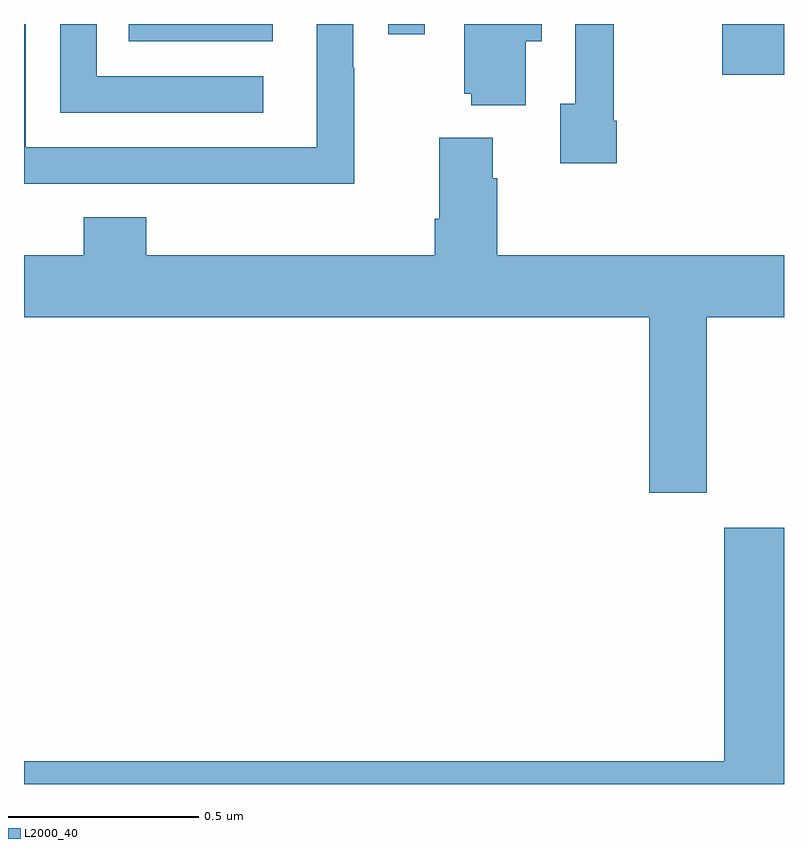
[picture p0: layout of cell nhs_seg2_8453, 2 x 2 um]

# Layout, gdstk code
import gdstk
lib = gdstk.Library(unit=1e-6, precision=1e-09)
def R(c, l, rs):  # rectangles x0, y0, x1, y1
    for r in rs: c.add(gdstk.rectangle(r[:2], r[2:], *l))
def P(c, l, *ps):  # polygons
    for p in ps: c.add(gdstk.Polygon(p, *l))
L2000_40 = (2000, 40)

nhs_seg2_8453 = lib.new_cell('nhs_seg2_8453')
R(nhs_seg2_8453, L2000_40, [(218.838,589.666,219,589.8), (217.276,589.754,217.654,589.8), (217.959,589.773,218.055,589.8)])
P(nhs_seg2_8453, L2000_40, [(218.56,589.546),(218.552,589.546),(218.552,589.8),(218.451,589.8),(218.451,589.59),(218.411,589.59),(218.411,589.434),(218.56,589.434)],
  [(217.869,589.685),(217.866,589.685),(217.866,589.8),(217.77,589.8),(217.77,589.476),(217.005,589.476),(217.005,589.8),(217,589.8),(217,589.38),(217.405,589.38),(217.405,589.379),(217.869,589.379)],
  [(217.63,589.662),(217.191,589.662),(217.191,589.8),(217.095,589.8),(217.095,589.566),(217.63,589.566)],
  [(218.32,589.754),(218.362,589.754),(218.362,589.8),(218.159,589.8),(218.159,589.617),(218.177,589.617),(218.177,589.586),(218.32,589.586)],
  [(218.797,589.028),(219,589.028),(219,589.192),(218.246,589.192),(218.246,589.394),(218.233,589.394),(218.233,589.501),(218.093,589.501),(218.093,589.288),(218.081,589.288),(218.081,589.192),(217.322,589.192),(217.322,589.291),(217.157,589.291),(217.157,589.192),(217,589.192),(217,589.028),(218.645,589.028),(218.645,588.567),(218.797,588.567)],
  [(219,588.475),(218.843,588.475),(218.843,587.86),(217,587.86),(217,587.8),(219,587.8)])

lib.write_gds('nhs_seg2_8453.gds')
